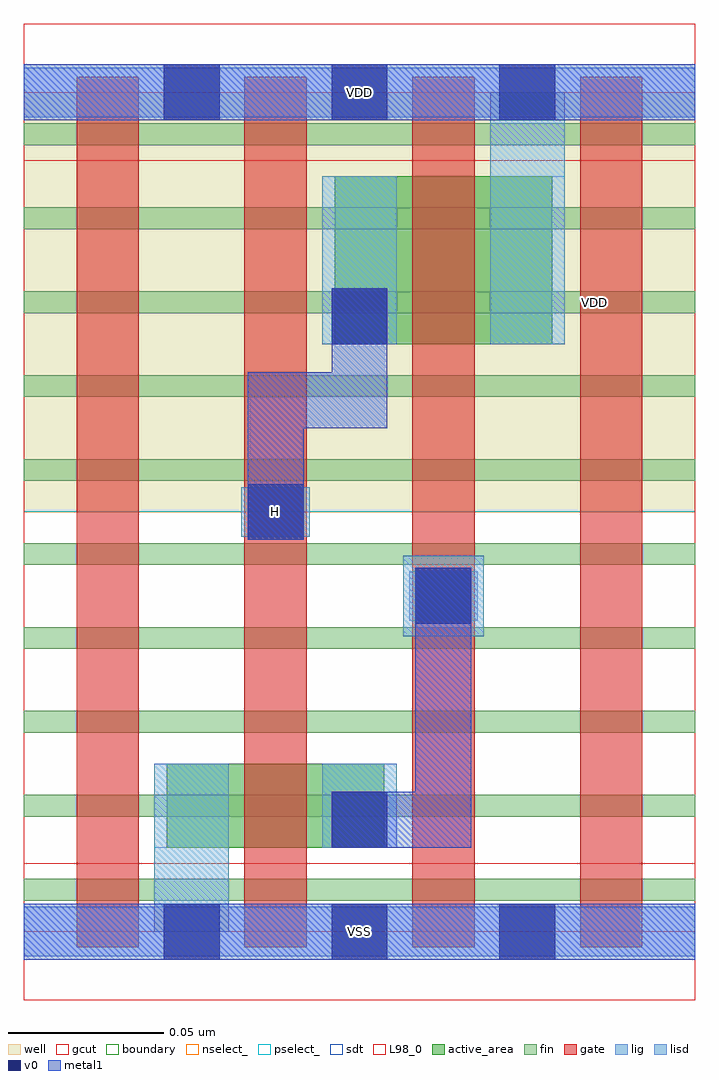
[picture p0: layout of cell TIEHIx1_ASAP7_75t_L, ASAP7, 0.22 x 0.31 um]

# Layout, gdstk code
import gdstk
lib = gdstk.Library(unit=1e-6, precision=2.5e-10)
def R(c, l, rs):  # rectangles x0, y0, x1, y1
    for r in rs: c.add(gdstk.rectangle(r[:2], r[2:], *l))
def A(c, l, x, y, w, h, nx, ny, dx, dy):  # array of equal rectangles
    R(c, l, [(x+i*dx, y+j*dy, x+i*dx+w, y+j*dy+h) for i in range(nx) for j in range(ny)])
def P(c, l, *ps):  # polygons
    for p in ps: c.add(gdstk.Polygon(p, *l))
well = (1, 0)
fin = (2, 0)
gate = (7, 0)
gcut = (10, 0)
active_area = (11, 0)
nselect_ = (12, 0)
pselect_ = (13, 0)
lig = (16, 0)
lisd = (17, 0)
v0 = (18, 0)
metal1 = (19, 0)
sdt = (88, 0)
L98_0 = (98, 0)
boundary = (100, 0)

tiehix1_asap7_75t_l = lib.new_cell('TIEHIx1_ASAP7_75t_L')
R(tiehix1_asap7_75t_l, well, [(0,0.135,0.216,0.27)])
A(tiehix1_asap7_75t_l, fin, 0, 0.01, 0.216, 0.007, 1, 10, 0, 0.027)
A(tiehix1_asap7_75t_l, gate, 0.017, -0.005, 0.02, 0.28, 4, 1, 0.054, 0)
R(tiehix1_asap7_75t_l, gcut, [(0,-0.022,0.216,0.022), (0,0.248,0.216,0.292)])
R(tiehix1_asap7_75t_l, active_area, [(0.046,0.027,0.116,0.054), (0.1,0.189,0.17,0.243)])
R(tiehix1_asap7_75t_l, nselect_, [(0,0,0.216,0.135)])
R(tiehix1_asap7_75t_l, pselect_, [(0,0.135,0.216,0.27)])
R(tiehix1_asap7_75t_l, lig, [(0,-0.008,0.216,0.008), (0.124,0.1,0.146,0.116), (0.07,0.127,0.092,0.143), (0,0.262,0.216,0.278)])
R(tiehix1_asap7_75t_l, lisd, [(0.042,0,0.066,0.054), (0.096,0.027,0.12,0.054), (0.122,0.095,0.148,0.121), (0.096,0.189,0.12,0.243), (0.15,0.189,0.174,0.27)])
A(tiehix1_asap7_75t_l, v0, 0.045, -0.009, 0.018, 0.018, 3, 2, 0.054, 0.27)
R(tiehix1_asap7_75t_l, v0, [(0.099,0.027,0.117,0.045), (0.126,0.099,0.144,0.117), (0.072,0.126,0.09,0.144), (0.099,0.189,0.117,0.207)])
R(tiehix1_asap7_75t_l, metal1, [(0,-0.009,0.216,0.009), (0,0.261,0.216,0.279)])
P(tiehix1_asap7_75t_l, metal1, [(0.126,0.117),(0.126,0.045),(0.099,0.045),(0.099,0.027),(0.144,0.027),(0.144,0.117)],
  [(0.09,0.162),(0.117,0.162),(0.117,0.207),(0.099,0.207),(0.099,0.18),(0.072,0.18),(0.072,0.126),(0.09,0.126)])
R(tiehix1_asap7_75t_l, sdt, [(0.042,0.027,0.066,0.054), (0.096,0.027,0.12,0.054), (0.096,0.189,0.12,0.243), (0.15,0.189,0.174,0.243)])
R(tiehix1_asap7_75t_l, L98_0, [(0,0,0.216,0.27)])
R(tiehix1_asap7_75t_l, boundary, [(0,0,0.216,0.27)])
tiehix1_asap7_75t_l.add(gdstk.Label('H', (0.081,0.135), layer=19, texttype=251))
tiehix1_asap7_75t_l.add(gdstk.Label('VSS', (0.108,0), layer=19, texttype=251))
tiehix1_asap7_75t_l.add(gdstk.Label('VDD', (0.108,0.27), layer=19, texttype=251))
tiehix1_asap7_75t_l.add(gdstk.Label('VDD', (0.1835,0.2025), layer=1, texttype=251))
tiehix1_asap7_75t_l.add(gdstk.Label('VSS', (0.2485,0.2025), layer=3, texttype=251))

lib.write_gds('TIEHIx1_ASAP7_75t_L.gds')
